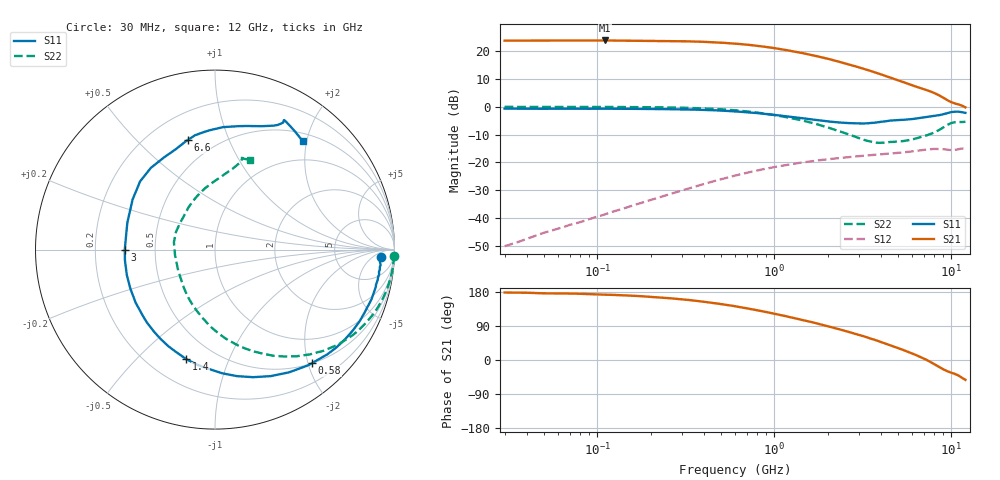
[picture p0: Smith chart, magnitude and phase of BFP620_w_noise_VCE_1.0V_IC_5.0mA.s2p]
! Infineon Technologies  Discrete & RF Semiconductors
! BFP620
! VCE =  1.0 V,  IC =  5.0 mA
! Common Emitter S-Parameters:  Nov 2015
# GHz  S  MA  R  50
!  f  S11  S21  S12  S22
! GHz  MAG  ANG  MAG  ANG  MAG  ANG  MAG  ANG
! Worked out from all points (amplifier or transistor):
!   239 points, 30 MHz to 12 GHz, reference 50 ohm
!   highest |S21| = 23.9 dB at 110 MHz (marker M1)
!   |S21| within 3 dB of that: start of sweep to 1.056 GHz
!   unconditionally stable (mu >= 1): 5.257 GHz to end of sweep
!   at 300 MHz: K = 0.07, MSG = 26.9 dB, |S12| = -30.1 dB
!   at 1.88 GHz: K = 0.50, MSG = 18.4 dB, |S12| = -19.1 dB
!   at 12 GHz: K = 1.21, MAG = 4.6 dB, |S12| = -15.1 dB
!   lowest NFmin = 0.63 dB at 450 MHz
!   S11 on the Smith chart (normalised r, x): 30 MHz: 19, -12; 580 MHz: 0.50, -2.07; 1.4 GHz: 0.35, -0.71; 3 GHz: 0.33, -0.00; 6.6 GHz: 0.36, +0.72; 12 GHz: 0.63, +1.93
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0.03  0.927 -2.7  15.49 178.1  0.0031 88.6  0.9967 -1.9
0.05  0.9212 -4.2  15.56 175.9  0.0054 86.3  0.997 -3.2
0.07  0.9236 -6.0  15.61 175.6  0.0075 87.0  0.9968 -4.5
0.085  0.9234 -7.3  15.58 174.3  0.0089 86.0  0.9956 -5.5
0.11  0.9213 -9.6  15.63 172.4  0.0115 84.5  0.9939 -7.2
0.155  0.9188 -13.5  15.52 169.8  0.0163 82.7  0.9892 -10.1
0.24  0.9076 -20.9  15.3 164.1  0.0251 78.7  0.9758 -15.7
0.38  0.8835 -33.0  14.85 155.0  0.0388 72.2  0.9414 -24.4
0.58  0.8323 -49.4  13.82 143.1  0.0561 63.2  0.874 -36.3
0.6  0.8282 -51.1  13.73 141.9  0.0578 62.4  0.8675 -37.5
0.7  0.7985 -58.9  13.15 136.3  0.065 58.4  0.8273 -42.9
0.9  0.7417 -73.4  11.94 126.5  0.0772 51.4  0.7472 -52.7
1.12  0.6855 -87.7  10.73 117.2  0.0877 45.1  0.6669 -62.0
1.4  0.6314 -104.6  9.439 107.2  0.0983 38.5  0.5777 -72.8
1.64  0.5907 -118.1  8.491 99.5  0.1053 34.0  0.5115 -81.4
2.22  0.5299 -147.2  6.723 83.7  0.1177 25.1  0.3826 -101.2
3  0.5028 -179.9  5.136 66.1  0.1292 16.3  0.2741 -129.3
3.5  0.5109 163.0  4.413 56.4  0.1354 11.5  0.2364 -150.1
4.5  0.5645 137.7  3.373 39.1  0.1442 3.2  0.2327 169.7
6.6  0.6283 104.1  2.203 9.2  0.1635 -11.3  0.2809 120.6
8.6  0.7104 75.8  1.583 -19.3  0.174 -29.3  0.3885 88.9
12  0.7779 51.1  0.976 -52.3  0.1763 -49.4  0.5386 68.6
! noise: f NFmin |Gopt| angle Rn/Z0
0.45  0.63  0.47  4  0.17
0.9  0.66  0.43  12  0.17
1.9  0.7  0.3  37  0.17
2.4  0.76  0.26  58  0.14
3.5  0.84  0.14  93  0.13
5.5  1.25  0.14  -174  0.13
10  1.94  0.61  -57  0.84
